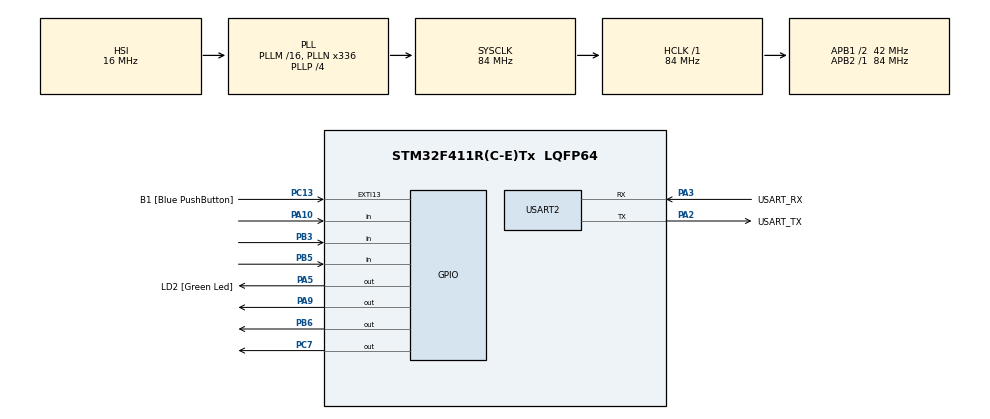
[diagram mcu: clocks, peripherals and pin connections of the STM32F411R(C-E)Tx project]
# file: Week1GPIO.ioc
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Mcu.Family=STM32F4
Mcu.Name=STM32F411R(C-E)Tx
Mcu.Package=LQFP64
NVIC.PriorityGroup=NVIC_PRIORITYGROUP_0
PA10.Signal=GPIO_Input
PA13.GPIO_Label=TMS
PA13.Mode=Serial_Wire
PA13.Signal=SYS_JTMS-SWDIO
PA14.GPIO_Label=TCK
PA14.Mode=Serial_Wire
PA14.Signal=SYS_JTCK-SWCLK
PA2.GPIO_Label=USART_TX
PA2.Mode=Asynchronous
PA2.Signal=USART2_TX
PA3.GPIO_Label=USART_RX
PA3.Mode=Asynchronous
PA3.Signal=USART2_RX
PA5.GPIO_Label=LD2 [Green Led]
PA5.Signal=GPIO_Output
PA9.Signal=GPIO_Output
PB3.Signal=GPIO_Input
PB5.Signal=GPIO_Input
PB6.Signal=GPIO_Output
PC13-ANTI_TAMP.GPIO_Label=B1 [Blue PushButton]
PC13-ANTI_TAMP.GPIO_ModeDefaultEXTI=GPIO_MODE_IT_FALLING
PC13-ANTI_TAMP.Signal=GPXTI13
PC14-OSC32_IN.Mode=LSE-External-Oscillator
PC14-OSC32_IN.Signal=RCC_OSC32_IN
PC15-OSC32_OUT.Mode=LSE-External-Oscillator
PC15-OSC32_OUT.Signal=RCC_OSC32_OUT
PC7.Signal=GPIO_Output
PH0\ -\ OSC_IN.Mode=HSE-External-Clock-Source
PH0\ -\ OSC_IN.Signal=RCC_OSC_IN
PH1\ -\ OSC_OUT.Mode=HSE-External-Clock-Source
PH1\ -\ OSC_OUT.Signal=RCC_OSC_OUT
ProjectManager.HeapSize=0x200
ProjectManager.StackSize=0x400
ProjectManager.TargetToolchain=STM32CubeIDE
RCC.48MHZClocksFreq_Value=84000000
RCC.AHBFreq_Value=84000000
RCC.APB1CLKDivider=RCC_HCLK_DIV2
RCC.APB1Freq_Value=42000000
RCC.APB1TimFreq_Value=84000000
RCC.APB2Freq_Value=84000000
RCC.APB2TimFreq_Value=84000000
RCC.CortexFreq_Value=84000000
RCC.FLatency-AdvancedSettings=FLASH_LATENCY_2
RCC.HCLKFreq_Value=84000000
RCC.HSE_VALUE=8000000
RCC.HSI_VALUE=16000000
RCC.PLLN=336
RCC.PLLP=RCC_PLLP_DIV4
RCC.SYSCLKFreq_VALUE=84000000
RCC.SYSCLKSource=RCC_SYSCLKSOURCE_PLLCLK
RCC.VCOOutputFreq_Value=336000000
USART2.VirtualMode=VM_ASYNC
board=NUCLEO-F411RE

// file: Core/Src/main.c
/* USER CODE BEGIN Header */
/**
 ******************************************************************************
 * @file           : main.c
 * @brief          : Main program body
 ******************************************************************************
 * @attention
 *
 * <h2><center>&copy; Copyright (c) 2021 STMicroelectronics.
 * All rights reserved.</center></h2>
 *
 * This software component is licensed by ST under BSD 3-Clause license,
 * the "License"; You may not use this file except in compliance with the
 * License. You may obtain a copy of the License at:
 *                        opensource.org/licenses/BSD-3-Clause
 *
 ******************************************************************************
 */
/* USER CODE END Header */
#include "main.h"

UART_HandleTypeDef huart2;

void SystemClock_Config(void);
static void MX_GPIO_Init(void);
static void MX_USART2_UART_Init(void);

int main(void) {

	/* MCU Configuration--------------------------------------------------------*/

	/* Reset of all peripherals, Initializes the Flash interface and the Systick. */
	HAL_Init();

	/* Configure the system clock */
	SystemClock_Config();

	/* Initialize all configured peripherals */
	MX_GPIO_Init();
	MX_USART2_UART_Init();
	/* USER CODE BEGIN 2 */
	GPIO_PinState SwitchState[2];  //Now, Previous
	GPIO_PinState SwitchState2[2];
	GPIO_PinState SwitchState3[2];
	uint16_t LED1_Half_Period = 1000;  // ... Hz
	uint32_t TimeStamp = 0;
	uint32_t ButtonTimeStamp = 0;
	uint32_t TimeStamp2 = 0;
	uint32_t ButtonTimeStamp2 = 0;
	uint32_t TimeStamp3 = 0;
	uint32_t ButtonTimeStamp3 = 0;
	int n = 0;
	/* USER CODE END 2 */

	/* Infinite loop */
	while (1) {

		/* USER CODE BEGIN 3 */
		///
////<<<<<<<<<TASK 1>>>>>>>>>
		if (HAL_GetTick() - ButtonTimeStamp >= 100) {
			ButtonTimeStamp = HAL_GetTick();
			SwitchState[0] = HAL_GPIO_ReadPin(GPIOA, GPIO_PIN_10);
			//Press = Low , No = High
			if (SwitchState[0] == GPIO_PIN_SET
					&& SwitchState[1] == GPIO_PIN_RESET)
					// set = high , reset = low
							{
				//Change Half Period of LED 1
				if (LED1_Half_Period == 1000) {
					LED1_Half_Period = 500;
				} else if (LED1_Half_Period == 500) {
					LED1_Half_Period = 250;
				} else if (LED1_Half_Period == 250) {
					LED1_Half_Period = 166;
				} else {
					LED1_Half_Period = 1000;
				}
			}
			SwitchState[1] = SwitchState[0];
		}
		//Run LED
		if (HAL_GetTick() - TimeStamp >= LED1_Half_Period) //millisecond now time
				{
			TimeStamp = HAL_GetTick();
			if (HAL_GPIO_ReadPin(GPIOA, GPIO_PIN_9) == GPIO_PIN_SET) {
				HAL_GPIO_WritePin(GPIOA, GPIO_PIN_9, GPIO_PIN_RESET);
			} else {
				HAL_GPIO_WritePin(GPIOA, GPIO_PIN_9, GPIO_PIN_SET);
			}
		}
//<<<<<<<<<TASK 2>>>>>>>>>
		if (HAL_GetTick() - ButtonTimeStamp2 >= 100) {
			ButtonTimeStamp2 = HAL_GetTick();
			SwitchState2[0] = HAL_GPIO_ReadPin(GPIOB, GPIO_PIN_3);
			if (SwitchState2[0] == GPIO_PIN_SET
					&& SwitchState2[1] == GPIO_PIN_RESET) //millisecond now time
							{
				TimeStamp2 = HAL_GetTick();
				if (HAL_GPIO_ReadPin(GPIOC, GPIO_PIN_7) == GPIO_PIN_SET) {
					HAL_GPIO_WritePin(GPIOC, GPIO_PIN_7, GPIO_PIN_RESET);
				} else {
					HAL_GPIO_WritePin(GPIOC, GPIO_PIN_7, GPIO_PIN_SET);
				}
			}
			SwitchState2[1] = SwitchState2[0];
		}
//<<<<<<<<<TASK 3>>>>>>>>>
		SwitchState3[0] = HAL_GPIO_ReadPin(GPIOB, GPIO_PIN_5);
		if (SwitchState3[0] == GPIO_PIN_SET
				&& SwitchState3[1] == GPIO_PIN_RESET) {
			if (n == 1) {
				n = 0;
			} else {
				n = 1;
			}
		}

		if (n == 0) {
			if (HAL_GetTick() - TimeStamp3 >= 500
					&& HAL_GPIO_ReadPin(GPIOB, GPIO_PIN_6) == GPIO_PIN_SET) //millisecond now time
							{
				TimeStamp3 = HAL_GetTick();
				HAL_GPIO_WritePin(GPIOB, GPIO_PIN_6, GPIO_PIN_RESET);
			} else if (HAL_GetTick() - TimeStamp3 >= 1500
					&& HAL_GPIO_ReadPin(GPIOB, GPIO_PIN_6) == GPIO_PIN_RESET) //millisecond now time
							{
				TimeStamp3 = HAL_GetTick();
				HAL_GPIO_WritePin(GPIOB, GPIO_PIN_6, GPIO_PIN_SET);
			}
		} else if (n == 1) {
			if (HAL_GetTick() - TimeStamp3 >= 500
					&& HAL_GPIO_ReadPin(GPIOB, GPIO_PIN_6) == GPIO_PIN_RESET) //millisecond now time
							{
				TimeStamp3 = HAL_GetTick();
				HAL_GPIO_WritePin(GPIOB, GPIO_PIN_6, GPIO_PIN_SET);
			} else if (HAL_GetTick() - TimeStamp3 >= 1500
					&& HAL_GPIO_ReadPin(GPIOB, GPIO_PIN_6) == GPIO_PIN_SET) //millisecond now time
							{
				TimeStamp3 = HAL_GetTick();
				HAL_GPIO_WritePin(GPIOB, GPIO_PIN_6, GPIO_PIN_RESET);
			}
		}

		SwitchState3[1] = SwitchState3[0];

	}
	/* USER CODE END 3 */
}

void SystemClock_Config(void) {
	RCC_OscInitTypeDef RCC_OscInitStruct = { 0 };
	RCC_ClkInitTypeDef RCC_ClkInitStruct = { 0 };

	/** Configure the main internal regulator output voltage
	 */
	__HAL_RCC_PWR_CLK_ENABLE();
	__HAL_PWR_VOLTAGESCALING_CONFIG(PWR_REGULATOR_VOLTAGE_SCALE1);
	/** Initializes the RCC Oscillators according to the specified parameters
	 * in the RCC_OscInitTypeDef structure.
	 */
	RCC_OscInitStruct.OscillatorType = RCC_OSCILLATORTYPE_HSI;
	RCC_OscInitStruct.HSIState = RCC_HSI_ON;
	RCC_OscInitStruct.HSICalibrationValue = RCC_HSICALIBRATION_DEFAULT;
	RCC_OscInitStruct.PLL.PLLState = RCC_PLL_ON;
	RCC_OscInitStruct.PLL.PLLSource = RCC_PLLSOURCE_HSI;
	RCC_OscInitStruct.PLL.PLLM = 16;
	RCC_OscInitStruct.PLL.PLLN = 336;
	RCC_OscInitStruct.PLL.PLLP = RCC_PLLP_DIV4;
	RCC_OscInitStruct.PLL.PLLQ = 4;
	if (HAL_RCC_OscConfig(&RCC_OscInitStruct) != HAL_OK) {
		Error_Handler();
	}
	/** Initializes the CPU, AHB and APB buses clocks
	 */
	RCC_ClkInitStruct.ClockType = RCC_CLOCKTYPE_HCLK | RCC_CLOCKTYPE_SYSCLK
			| RCC_CLOCKTYPE_PCLK1 | RCC_CLOCKTYPE_PCLK2;
	RCC_ClkInitStruct.SYSCLKSource = RCC_SYSCLKSOURCE_PLLCLK;
	RCC_ClkInitStruct.AHBCLKDivider = RCC_SYSCLK_DIV1;
	RCC_ClkInitStruct.APB1CLKDivider = RCC_HCLK_DIV2;
	RCC_ClkInitStruct.APB2CLKDivider = RCC_HCLK_DIV1;

	if (HAL_RCC_ClockConfig(&RCC_ClkInitStruct, FLASH_LATENCY_2) != HAL_OK) {
		Error_Handler();
	}
}

static void MX_USART2_UART_Init(void) {

	huart2.Instance = USART2;
	huart2.Init.BaudRate = 115200;
	huart2.Init.WordLength = UART_WORDLENGTH_8B;
	huart2.Init.StopBits = UART_STOPBITS_1;
	huart2.Init.Parity = UART_PARITY_NONE;
	huart2.Init.Mode = UART_MODE_TX_RX;
	huart2.Init.HwFlowCtl = UART_HWCONTROL_NONE;
	huart2.Init.OverSampling = UART_OVERSAMPLING_16;
	if (HAL_UART_Init(&huart2) != HAL_OK) {
		Error_Handler();
	}

}

static void MX_GPIO_Init(void) {
	GPIO_InitTypeDef GPIO_InitStruct = { 0 };

	/* GPIO Ports Clock Enable */
	__HAL_RCC_GPIOC_CLK_ENABLE();
	__HAL_RCC_GPIOH_CLK_ENABLE();
	__HAL_RCC_GPIOA_CLK_ENABLE();
	__HAL_RCC_GPIOB_CLK_ENABLE();

	/*Configure GPIO pin Output Level */
	HAL_GPIO_WritePin(GPIOA, LD2_Pin | GPIO_PIN_9, GPIO_PIN_RESET);

	/*Configure GPIO pin Output Level */
	HAL_GPIO_WritePin(GPIOC, GPIO_PIN_7, GPIO_PIN_RESET);

	/*Configure GPIO pin Output Level */
	HAL_GPIO_WritePin(GPIOB, GPIO_PIN_6, GPIO_PIN_RESET);

	/*Configure GPIO pin : B1_Pin */
	GPIO_InitStruct.Pin = B1_Pin;
	GPIO_InitStruct.Mode = GPIO_MODE_IT_FALLING;
	GPIO_InitStruct.Pull = GPIO_NOPULL;
	HAL_GPIO_Init(B1_GPIO_Port, &GPIO_InitStruct);

	/*Configure GPIO pins : LD2_Pin PA9 */
	GPIO_InitStruct.Pin = LD2_Pin | GPIO_PIN_9;
	GPIO_InitStruct.Mode = GPIO_MODE_OUTPUT_PP;
	GPIO_InitStruct.Pull = GPIO_NOPULL;
	GPIO_InitStruct.Speed = GPIO_SPEED_FREQ_LOW;
	HAL_GPIO_Init(GPIOA, &GPIO_InitStruct);

	/*Configure GPIO pin : PC7 */
	GPIO_InitStruct.Pin = GPIO_PIN_7;
	GPIO_InitStruct.Mode = GPIO_MODE_OUTPUT_PP;
	GPIO_InitStruct.Pull = GPIO_NOPULL;
	GPIO_InitStruct.Speed = GPIO_SPEED_FREQ_LOW;
	HAL_GPIO_Init(GPIOC, &GPIO_InitStruct);

	/*Configure GPIO pin : PA10 */
	GPIO_InitStruct.Pin = GPIO_PIN_10;
	GPIO_InitStruct.Mode = GPIO_MODE_INPUT;
	GPIO_InitStruct.Pull = GPIO_NOPULL;
	HAL_GPIO_Init(GPIOA, &GPIO_InitStruct);

	/*Configure GPIO pins : PB3 PB5 */
	GPIO_InitStruct.Pin = GPIO_PIN_3 | GPIO_PIN_5;
	GPIO_InitStruct.Mode = GPIO_MODE_INPUT;
	GPIO_InitStruct.Pull = GPIO_NOPULL;
	HAL_GPIO_Init(GPIOB, &GPIO_InitStruct);

	/*Configure GPIO pin : PB6 */
	GPIO_InitStruct.Pin = GPIO_PIN_6;
	GPIO_InitStruct.Mode = GPIO_MODE_OUTPUT_PP;
	GPIO_InitStruct.Pull = GPIO_NOPULL;
	GPIO_InitStruct.Speed = GPIO_SPEED_FREQ_LOW;
	HAL_GPIO_Init(GPIOB, &GPIO_InitStruct);

}

void Error_Handler(void) {
	__disable_irq();
	while (1) {
	}
}

/************************ (C) COPYRIGHT STMicroelectronics *****END OF FILE****/
